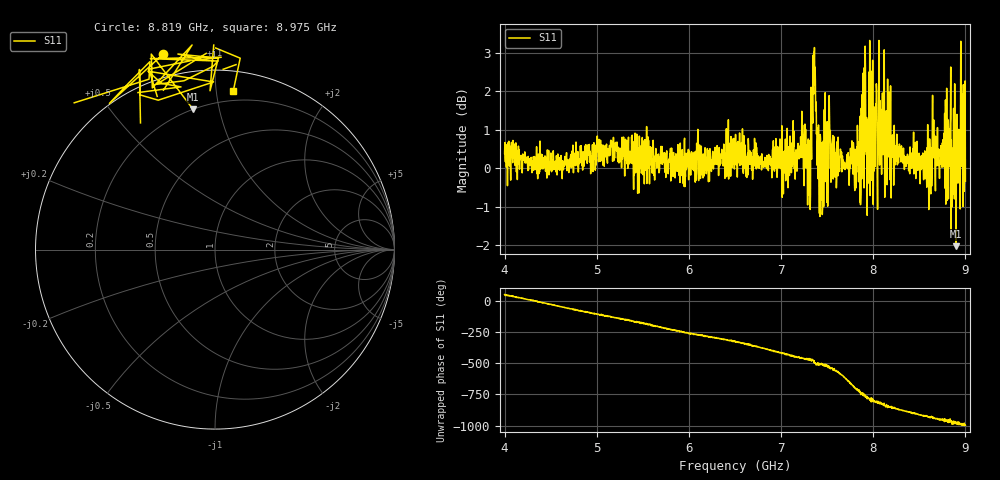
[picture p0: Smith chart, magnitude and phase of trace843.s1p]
! Created with skrf 1.8.0 (http://scikit-rf.org).
# Hz S RI R 50.0
!freq ReS11 ImS11
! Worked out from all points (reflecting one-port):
!   1601 points, 4 GHz to 9 GHz, reference 50 ohm
!   lowest |S11| = -2.0 dB at 8.9 GHz (marker M1), VSWR 8.61, Z = 9.95 + j41.8 ohm
!   phase of S11 starts at 53 deg and turns -1051 deg over the sweep
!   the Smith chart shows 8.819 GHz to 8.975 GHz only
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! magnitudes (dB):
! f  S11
! 4 GHz  0.4
! 4.625 GHz  -0.3
! 5.25 GHz  0.2
! 5.875 GHz  0.1
! 6.5 GHz  0.5
! 7.125 GHz  0.2
! 7.244 GHz  0.0
! 7.297 GHz  0.8
! 7.359 GHz  2.7
! 7.381 GHz  1.7
! 7.397 GHz  0.7
! 7.428 GHz  0.8
! 7.538 GHz  0.6
! 7.609 GHz  0.7
! 7.75 GHz  0.0
! 7.841 GHz  -0.4
! 7.894 GHz  -0.2
! 7.956 GHz  -0.4
! 8.05 GHz  1.2
! 8.375 GHz  0.1
! 8.6 GHz  0.2
! 8.656 GHz  1.3
! 8.725 GHz  0.1
! 8.816 GHz  -0.8
! 8.869 GHz  -0.2
! 8.9 GHz  -2.0
! 8.972 GHz  0.6
! 9 GHz  -0.3
